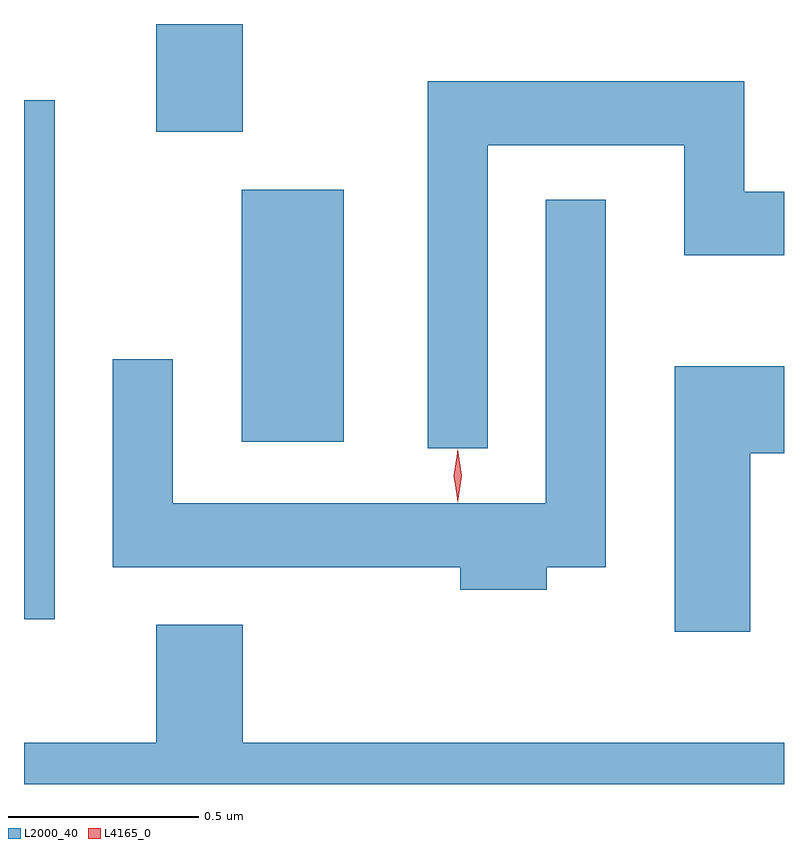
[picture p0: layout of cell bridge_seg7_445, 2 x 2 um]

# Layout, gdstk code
import gdstk
lib = gdstk.Library(unit=1e-6, precision=1e-09)
def R(c, l, rs):  # rectangles x0, y0, x1, y1
    for r in rs: c.add(gdstk.rectangle(r[:2], r[2:], *l))
def P(c, l, *ps):  # polygons
    for p in ps: c.add(gdstk.Polygon(p, *l))
L2000_40 = (2000, 40)
L4165_0 = (4165, 0)

bridge_seg7_445 = lib.new_cell('bridge_seg7_445')
R(bridge_seg7_445, L2000_40, [(1150.423,1717.128,1150.504,1718.494), (1150.996,1717.596,1151.264,1718.259), (1150.771,1718.411,1150.999,1718.695)])
P(bridge_seg7_445, L2000_40, [(1151.644,1718.376),(1152.161,1718.376),(1152.161,1718.086),(1152.423,1718.086),(1152.423,1718.254),(1152.319,1718.254),(1152.319,1718.544),(1151.486,1718.544),(1151.486,1717.578),(1151.644,1717.578)],
  [(1151.799,1717.266),(1151.954,1717.266),(1151.954,1718.233),(1151.796,1718.233),(1151.796,1717.434),(1150.814,1717.434),(1150.814,1717.813),(1150.656,1717.813),(1150.656,1717.266),(1151.571,1717.266),(1151.571,1717.206),(1151.799,1717.206)],
  [(1152.334,1717.566),(1152.423,1717.566),(1152.423,1717.794),(1152.136,1717.794),(1152.136,1717.096),(1152.334,1717.096)],
  [(1152.423,1716.804),(1150.999,1716.804),(1150.999,1717.114),(1150.771,1717.114),(1150.771,1716.804),(1150.423,1716.804),(1150.423,1716.695),(1152.423,1716.695)])
P(bridge_seg7_445, L4165_0, [(1151.564,1717.437),(1151.555,1717.506),(1151.564,1717.576),(1151.565,1717.576),(1151.565,1717.576),(1151.575,1717.506),(1151.565,1717.437),(1151.565,1717.437)],
  [(1151.564,1717.439),(1151.564,1717.44),(1151.554,1717.506),(1151.564,1717.572),(1151.564,1717.573),(1151.565,1717.572),(1151.574,1717.506),(1151.565,1717.44)])

lib.write_gds('bridge_seg7_445.gds')
